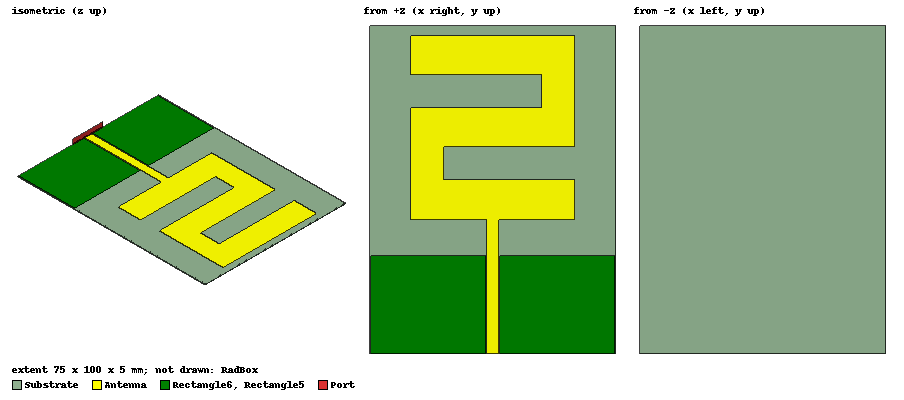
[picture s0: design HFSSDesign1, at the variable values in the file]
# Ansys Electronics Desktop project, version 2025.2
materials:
  vacuum: permittivity=1
  z paper: permittivity=3.4 dielectric_loss_tangent=0.08
  pec: conductivity=1e+30
  PMLGroup1_Z_1: permittivity{anisotropic component1=1.3898825 component2=1.3898825 component3=0.35974263} permeability{anisotropic component1=1.3898825 component2=1.3898825 component3=0.35974263} dielectric_loss_tangent{anisotropic component1=1 component2=1 component3=-1} magnetic_loss_tangent{anisotropic component1=1 component2=1 component3=-1}
  PMLGroup1_XZ_1: permittivity{anisotropic component1=1 component2=0.01 component3=1} permeability{anisotropic component1=1 component2=0.01 component3=1} dielectric_loss_tangent{anisotropic component1=0 component2=386.35469 component3=0} magnetic_loss_tangent{anisotropic component1=0 component2=386.35469 component3=0}
  PMLGroup1_YZ_1: permittivity{anisotropic component1=0.01 component2=1 component3=1} permeability{anisotropic component1=0.01 component2=1 component3=1} dielectric_loss_tangent{anisotropic component1=386.35469 component2=0 component3=0} magnetic_loss_tangent{anisotropic component1=386.35469 component2=0 component3=0}
  PMLGroup1_XYZ_1: permittivity{anisotropic component1=1.3898825 component2=1.3898825 component3=1.3898825} permeability{anisotropic component1=1.3898825 component2=1.3898825 component3=1.3898825} dielectric_loss_tangent{anisotropic component1=1 component2=1 component3=1} magnetic_loss_tangent{anisotropic component1=1 component2=1 component3=1}

design HFSSDesign1 (HFSS, HFSS Terminal Network, model units mm)
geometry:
  Substrate [z paper] = box(corner=(0mm, 0mm, 0mm), size=(75mm, 100mm, -0.254mm))
  Rectangle1 = rectangle(corner=(35.6mm, 0mm, 0mm), x_size=3.8mm, y_size=41mm)
  Antenna = rectangle(corner=(12.5mm, 41mm, 0mm), x_size=50mm, y_size=56mm)
  Rectangle3 = rectangle(corner=(12.5mm, 75mm, 0mm), x_size=40mm, y_size=10mm)
  Rectangle4 = rectangle(corner=(22.5mm, 53mm, 0mm), x_size=40mm, y_size=10mm)
  Antenna.subtract(Rectangle3)
  Antenna.subtract(Rectangle4)
  Antenna.unite(Rectangle1)
  Rectangle5 = rectangle(corner=(0.3mm, 0mm, 0mm), x_size=35mm, y_size=30mm)
  Rectangle6 = rectangle(corner=(39.7mm, 0mm, 0mm), x_size=35mm, y_size=30mm)
  Port = rectangle(corner=(29.5mm, 0mm, 2.5mm), z_size=-5mm, x_size=16mm)
  RadBox [vacuum] = box(corner=(0mm, 100mm, -40mm), size=(75mm, -100mm, 80mm))
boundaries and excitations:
  Rad1: Radiation Objects=RadBox
  PerfE1: Perfect E Objects=[Rectangle5, Rectangle6]
  PerfE2: Perfect E Objects=Antenna
  1: Wave Port Faces=Port.face WavePortType=Modal NumModes=1 Modes{Mode1{IntLine{(37.5, 0, -2.5) -> (38000mm, 0mm, 2000mm)} CharImp=Zpi RenormImp=50ohm}}
  reference conductors: Rectangle5, Rectangle6
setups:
  Setup1: HfssDriven Frequency=1.6GHz MaxDeltaS=0.02 MaximumPasses=20 MinimumPasses=1 MinimumConvergedPasses=1 PercentRefinement=30 BasisOrder=1 PortAccuracy=2 DrivenSolverType="Direct Solver"
    sweep Sweep: 0.8GHz to 2.4GHz, 401 points; Type=Fast SaveFields
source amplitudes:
  1:1: 1V 0deg
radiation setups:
  Infinite Sphere1: Infinite Sphere Theta=-180deg..180deg step 5deg Phi=0deg..360deg step 5deg

design HFSSDesign2 (HFSS, HFSS Terminal Network, model units mm)
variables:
  dR = 1mm
  dL = 150mm
  gL = 1mm
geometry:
  DIPOLE [pec] = cylinder(axis=Z, base_centre=(0mm, 0mm, -dL/2), radius=dR, height=dL)
  gap [vacuum] = cylinder(axis=Z, base_centre=(0mm, 0mm, -gL/2), radius=dR, height=gL)
  gap_1 = gap.copy()
  DIPOLE.subtract(gap_1)
  p1 = gap.section(plane=YZ)
  RadiatingSurface [vacuum] = region(absolute_offset=75mm on all sides)
  coordinate_system FaceCS1 = face of RadiatingSurface: Origin=(76, -76, 150) FaceID=RadiatingSurface.face(+z) AxisPosn=(76, 76, 150) WhichAxis=X ZRotationAngle=0deg XOffset=0mm YOffset=0mm FaceNormal(0, 0, 1)
  PML_RadiatingSurface_1 [PMLGroup1_Z_1, oriented by FaceCS1] = sweep_along_normal(RadiatingSurface.face(+z), length=96.513855mm)
  coordinate_system FaceCS2 = face of RadiatingSurface: Origin=(76, -76, -150) FaceID=RadiatingSurface.face(-z) AxisPosn=(-76, -76, -150) WhichAxis=X ZRotationAngle=0deg XOffset=0mm YOffset=0mm FaceNormal(0, 0, -1)
  PML_RadiatingSurface_2 [PMLGroup1_Z_1, oriented by FaceCS2] = sweep_along_normal(RadiatingSurface.face(-z), length=96.513855mm)
  coordinate_system FaceCS3 = face of RadiatingSurface: Origin=(76, -76, 150) FaceID=RadiatingSurface.face(-y) AxisPosn=(-76, -76, 150) WhichAxis=X ZRotationAngle=0deg XOffset=0mm YOffset=0mm FaceNormal(0, -1, 0)
  PML_RadiatingSurface_3 [PMLGroup1_Z_1, oriented by FaceCS3] = sweep_along_normal(RadiatingSurface.face(-y), length=96.513855mm)
  coordinate_system FaceCS4 = face of RadiatingSurface: Origin=(-76, -76, 150) FaceID=RadiatingSurface.face(-x) AxisPosn=(-76, 76, 150) WhichAxis=X ZRotationAngle=0deg XOffset=0mm YOffset=0mm FaceNormal(-1, 0, 0)
  PML_RadiatingSurface_4 [PMLGroup1_Z_1, oriented by FaceCS4] = sweep_along_normal(RadiatingSurface.face(-x), length=96.513855mm)
  coordinate_system FaceCS5 = face of RadiatingSurface: Origin=(-76, 76, 150) FaceID=RadiatingSurface.face(+y) AxisPosn=(76, 76, 150) WhichAxis=X ZRotationAngle=0deg XOffset=0mm YOffset=0mm FaceNormal(0, 1, 0)
  PML_RadiatingSurface_5 [PMLGroup1_Z_1, oriented by FaceCS5] = sweep_along_normal(RadiatingSurface.face(+y), length=96.513855mm)
  coordinate_system FaceCS6 = face of RadiatingSurface: Origin=(76, 76, -150) FaceID=RadiatingSurface.face(+x) AxisPosn=(76, 76, 150) WhichAxis=X ZRotationAngle=0deg XOffset=0mm YOffset=0mm FaceNormal(1, 0, 0)
  PML_RadiatingSurface_6 [PMLGroup1_Z_1, oriented by FaceCS6] = sweep_along_normal(RadiatingSurface.face(+x), length=96.513855mm)
  PML_RadiatingSurface_7 [PMLGroup1_XZ_1, oriented by FaceCS1] = sweep_along_normal(PML_RadiatingSurface_1.face(at (0, -76, 198.257)), length=96.513855mm)
  PML_RadiatingSurface_8 [PMLGroup1_YZ_1, oriented by FaceCS4] = sweep_along_normal(PML_RadiatingSurface_1.face(at (-76, 0, 198.257)), length=96.513855mm)
  PML_RadiatingSurface_9 [PMLGroup1_YZ_1, oriented by FaceCS5] = sweep_along_normal(PML_RadiatingSurface_1.face(at (0, 76, 198.257)), length=96.513855mm)
  PML_RadiatingSurface_10 [PMLGroup1_YZ_1, oriented by FaceCS1] = sweep_along_normal(PML_RadiatingSurface_1.face(at (76, 0, 198.257)), length=96.513855mm)
  PML_RadiatingSurface_11 [PMLGroup1_YZ_1, oriented by FaceCS2] = sweep_along_normal(PML_RadiatingSurface_2.face(at (0, -76, -198.257)), length=96.513855mm)
  coordinate_system FaceCS7 = face of RadiatingSurface: Origin=(-76, -76, -150) FaceID=RadiatingSurface.face(-z) AxisPosn=(-76, 76, -150) WhichAxis=X ZRotationAngle=0deg XOffset=0mm YOffset=0mm FaceNormal(0, 0, -1)
  PML_RadiatingSurface_12 [PMLGroup1_YZ_1, oriented by FaceCS7] = sweep_along_normal(PML_RadiatingSurface_2.face(at (-76, 0, -198.257)), length=96.513855mm)
  coordinate_system FaceCS8 = face of RadiatingSurface: Origin=(-76, 76, -150) FaceID=RadiatingSurface.face(-z) AxisPosn=(76, 76, -150) WhichAxis=X ZRotationAngle=0deg XOffset=0mm YOffset=0mm FaceNormal(0, 0, -1)
  PML_RadiatingSurface_13 [PMLGroup1_YZ_1, oriented by FaceCS8] = sweep_along_normal(PML_RadiatingSurface_2.face(at (0, 76, -198.257)), length=96.513855mm)
  PML_RadiatingSurface_14 [PMLGroup1_XZ_1, oriented by FaceCS2] = sweep_along_normal(PML_RadiatingSurface_2.face(at (76, 0, -198.257)), length=96.513855mm)
  PML_RadiatingSurface_15 [PMLGroup1_XZ_1, oriented by FaceCS4] = sweep_along_normal(PML_RadiatingSurface_3.face(at (-76, -124.257, 0)), length=96.513855mm)
  PML_RadiatingSurface_16 [PMLGroup1_XZ_1, oriented by FaceCS3] = sweep_along_normal(PML_RadiatingSurface_3.face(at (76, -124.257, 0)), length=96.513855mm)
  PML_RadiatingSurface_17 [PMLGroup1_XZ_1, oriented by FaceCS5] = sweep_along_normal(PML_RadiatingSurface_4.face(at (-124.257, 76, 0)), length=96.513855mm)
  PML_RadiatingSurface_18 [PMLGroup1_YZ_1, oriented by FaceCS6] = sweep_along_normal(PML_RadiatingSurface_5.face(at (76, 124.257, 0)), length=96.513855mm)
  PML_RadiatingSurface_19 [PMLGroup1_XYZ_1, oriented by FaceCS4] = sweep_along_normal(PML_RadiatingSurface_7.face(at (-76, -124.257, 198.257)), length=96.513855mm)
  PML_RadiatingSurface_20 [PMLGroup1_XYZ_1, oriented by FaceCS1] = sweep_along_normal(PML_RadiatingSurface_7.face(at (76, -124.257, 198.257)), length=96.513855mm)
  PML_RadiatingSurface_21 [PMLGroup1_XYZ_1, oriented by FaceCS5] = sweep_along_normal(PML_RadiatingSurface_8.face(at (-124.257, 76, 198.257)), length=96.513855mm)
  coordinate_system FaceCS9 = face of RadiatingSurface: Origin=(76, 76, 150) FaceID=RadiatingSurface.face(+z) AxisPosn=(-76, 76, 150) WhichAxis=X ZRotationAngle=0deg XOffset=0mm YOffset=0mm FaceNormal(0, 0, 1)
  PML_RadiatingSurface_22 [PMLGroup1_XYZ_1, oriented by FaceCS9] = sweep_along_normal(PML_RadiatingSurface_9.face(at (76, 124.257, 198.257)), length=96.513855mm)
  PML_RadiatingSurface_23 [PMLGroup1_XYZ_1, oriented by FaceCS7] = sweep_along_normal(PML_RadiatingSurface_11.face(at (-76, -124.257, -198.257)), length=96.513855mm)
  PML_RadiatingSurface_24 [PMLGroup1_XYZ_1, oriented by FaceCS2] = sweep_along_normal(PML_RadiatingSurface_11.face(at (76, -124.257, -198.257)), length=96.513855mm)
  PML_RadiatingSurface_25 [PMLGroup1_XYZ_1, oriented by FaceCS8] = sweep_along_normal(PML_RadiatingSurface_12.face(at (-124.257, 76, -198.257)), length=96.513855mm)
  PML_RadiatingSurface_26 [PMLGroup1_XYZ_1, oriented by FaceCS6] = sweep_along_normal(PML_RadiatingSurface_13.face(at (76, 124.257, -198.257)), length=96.513855mm)
  group PMLGroup1 = PML_RadiatingSurface_1..PML_RadiatingSurface_26
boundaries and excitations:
  PML_radiation1: Radiation Faces=RadiatingSurface.face(+z) IsForPML
  PML_radiation2: Radiation Faces=RadiatingSurface.face(-z) IsForPML
  PML_radiation3: Radiation Faces=RadiatingSurface.face(-y) IsForPML
  PML_radiation4: Radiation Faces=RadiatingSurface.face(-x) IsForPML
  PML_radiation5: Radiation Faces=RadiatingSurface.face(+y) IsForPML
  PML_radiation6: Radiation Faces=RadiatingSurface.face(+x) IsForPML
  1: Lumped Port Objects=p1 LumpedPortType=Modal Modes{Mode1{IntLine{(0, 0, -0.5) -> (0, 0, 0.5)} CharImp=Zpi}} Impedance=50ohm
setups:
  1GHz: HfssDriven Frequency=1GHz MaxDeltaS=0.02 MaximumPasses=99 MinimumPasses=1 MinimumConvergedPasses=1 PercentRefinement=30 BasisOrder=1 PortAccuracy=2 DrivenSolverType="Direct Solver"
    sweep Sweep: 800MHz to 1200MHz, 401 points; Type=Interpolating InterpTolerance=0.5 InterpMaxSolns=250 PassivityErrorTolerance=0.0001
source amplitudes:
  1:1: 1V 0deg
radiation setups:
  3D_Radiation: Infinite Sphere Theta=0deg..180deg step 1deg Phi=-180deg..180deg step 1deg
  P_Plane: Infinite Sphere Theta=-180deg..180deg step 1deg Phi=0deg..0deg step 0deg
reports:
  S Parameter Plot1: dB(S(1,1)) vs Freq on 1GHz : Sweep
  Z Parameter Plot1: re(Z(1,1)), im(Z(1,1)) vs Freq on 1GHz : Sweep
  Radiation pattern: dB(GainTotal) vs Theta on 1GHz : LastAdaptive, P_Plane [Phi=all Freq=1GHz]
  Directivity Plot1: dB(DirTotal) vs Phi, Theta on 1GHz : LastAdaptive, 3D_Radiation [Freq=1GHz]
